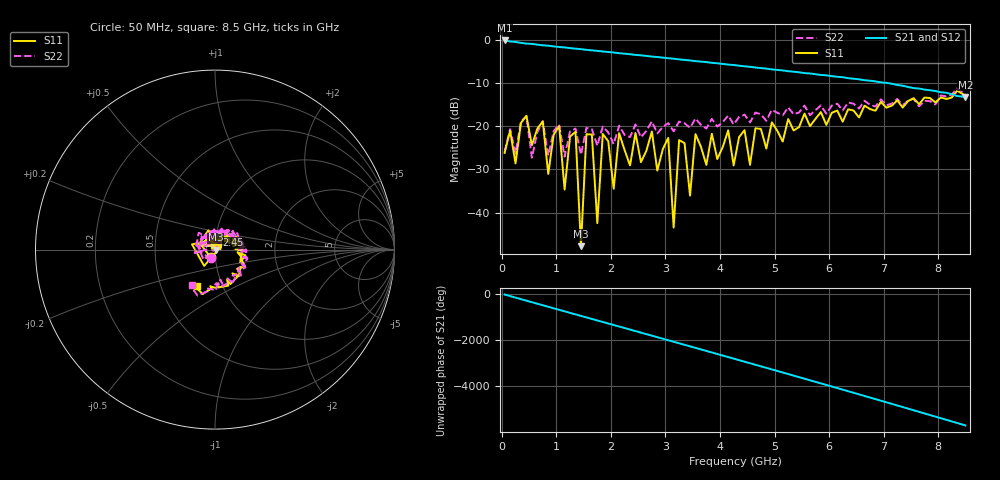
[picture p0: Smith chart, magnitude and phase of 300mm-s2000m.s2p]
! Sonnet Data File
! From: sonnet Version : 19.01.2024
! From Emgraph Data:
! Data File Written: 08/28/2024 20:46:21
!< HDATE 08/28/2024 20:45:47
!< MDATE 08/28/2024 20:45:47
# GHZ S MA R 50.00000
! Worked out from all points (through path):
!   86 points, 50 MHz to 8.5 GHz, reference 50 ohm
!   highest |S21| = -0.18 dB at 50 MHz (marker M1); lowest = -13.3 dB at 8.5 GHz (marker M2)
!   lowest |S11| = -47.7 dB at 1.45 GHz (marker M3), VSWR 1.01, Z = 50.4 - j0.13 ohm
!   |S11| at or under -10 dB: start of sweep to end of sweep
!   |S22| runs from -27.3 to -11.3 dB; largest |S21 - S12| = 0.0029
!   S11 on the Smith chart (normalised r, x): 50 MHz: 0.95, -0.08; 2.45 GHz: 1.01, +0.17; 8.5 GHz: 0.76, -0.32
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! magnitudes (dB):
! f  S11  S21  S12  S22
! 50 MHz  -26.2  -0.2  -0.2  -25.9
! 850 MHz  -31.1  -1.4  -1.4  -26.8
! 1.05 GHz  -20.0  -1.7  -1.7  -19.6
! 1.15 GHz  -34.7  -1.8  -1.8  -27.1
! 1.35 GHz  -21.3  -2.1  -2.1  -20.6
! 1.45 GHz  -47.7  -2.2  -2.2  -26.6
! 1.55 GHz  -21.9  -2.4  -2.4  -20.4
! 1.65 GHz  -21.9  -2.5  -2.5  -20.7
! 1.75 GHz  -42.4  -2.6  -2.6  -24.5
! 1.85 GHz  -21.8  -2.7  -2.7  -20.1
! 2.05 GHz  -34.5  -3.0  -3.0  -24.1
! 2.45 GHz  -21.6  -3.5  -3.5  -19.6
! 2.95 GHz  -25.4  -4.2  -4.2  -20.2
! 3.05 GHz  -22.7  -4.3  -4.3  -19.3
! 3.15 GHz  -43.5  -4.4  -4.4  -21.2
! 3.25 GHz  -23.2  -4.6  -4.6  -18.9
! 3.45 GHz  -36.1  -4.8  -4.8  -20.4
! 3.55 GHz  -21.8  -5.0  -5.0  -18.2
! 4.35 GHz  -22.5  -6.0  -6.0  -17.9
! 5.75 GHz  -18.3  -8.0  -8.0  -16.3
! 7.15 GHz  -15.3  -10.2  -10.2  -14.8
! 8.5 GHz  -12.9  -13.3  -13.3  -12.6
